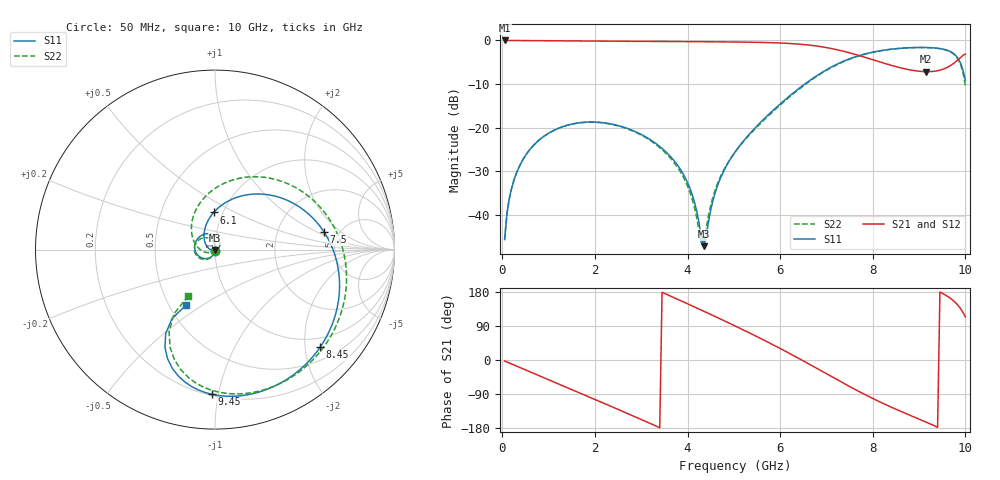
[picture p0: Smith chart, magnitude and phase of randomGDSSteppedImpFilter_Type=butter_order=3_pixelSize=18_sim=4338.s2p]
! freq	dB(S11)	phase(S11)	dB(S12)	phase(S12)
!  dB(S21)	phase(S21)	dB(S22)	phase(S22)
!S-par simulation data
#  GHz  S  DB  R 50
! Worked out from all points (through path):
!   200 points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, 50 MHz to 10 GHz, reference 50 ohm
!   highest |S21| = 0.00 dB at 50 MHz (marker M1); lowest = -7.2 dB at 9.15 GHz (marker M2)
!   group delay of S21, straight-line fit = 163 ps
!   lowest |S11| = -47.2 dB at 4.35 GHz (marker M3), VSWR 1.01, Z = 50.1 - j0.426 ohm
!   |S11| at or under -10 dB: start of sweep to 6.532 GHz
!   |S22| runs from -46.5 to -1.6 dB; largest |S21 - S12| = 0
!   S11 on the Smith chart (normalised r, x): 50 MHz: 1.00, -0.01; 6.1 GHz: 0.91, +0.39; 7.5 GHz: 3.80, +1.20; 8.45 GHz: 0.77, -2.33; 9.45 GHz: 0.21, -0.96; 10 GHz: 0.61, -0.43
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0.05  -45.70 -93.1  -0.00 -2.6  -0.00 -2.6  -45.70 -92.8
0.2  -33.99 -102.1  -0.01 -10.5  -0.01 -10.5  -33.99 -100.9
0.5  -26.42 -119.1  -0.04 -26.1  -0.04 -26.1  -26.43 -116.0
1.15  -20.45 -155.3  -0.10 -59.9  -0.10 -59.9  -20.47 -147.8
1.75  -18.79 170.9  -0.15 -91.1  -0.15 -91.1  -18.83 -176.5
2.5  -19.53 127.2  -0.19 -130.4  -0.19 -130.4  -19.61 148.4
3.4  -24.33 70.1  -0.22 -178.6  -0.22 -178.6  -24.60 108.5
4  -32.60 24.7  -0.26 148.4  -0.26 148.4  -33.41 88.1
4.3  -45.17 -36.6  -0.28 131.6  -0.28 131.6  -46.52 134.0
4.35  -47.22 -77.4  -0.29 128.8  -0.29 128.8  -46.26 171.8
4.6  -34.84 -169.5  -0.31 114.6  -0.31 114.6  -34.21 -147.3
5.05  -25.25 153.7  -0.36 88.5  -0.36 88.5  -25.30 -164.0
5.55  -19.08 122.9  -0.44 58.6  -0.44 58.6  -19.31 166.8
6.1  -13.66 91.9  -0.64 24.0  -0.64 24.0  -13.90 129.4
6.7  -8.74 57.3  -1.16 -15.8  -1.16 -15.8  -8.90 85.5
7.5  -4.22 9.2  -2.85 -70.1  -2.85 -70.1  -4.29 27.3
8.35  -2.07 -37.9  -5.56 -121.7  -5.56 -121.7  -2.09 -26.5
8.45  -1.94 -42.9  -5.87 -127.2  -5.87 -127.2  -1.97 -32.1
9.15  -1.62 -76.3  -7.17 -163.7  -7.17 -163.7  -1.64 -68.8
9.45  -1.87 -91.3  -6.82 179.4  -6.82 179.4  -1.89 -85.1
9.8  -3.55 -113.4  -4.80 149.7  -4.80 149.7  -3.68 -110.1
10  -9.10 -117.6  -3.12 113.6  -3.12 113.6  -10.43 -120.0
